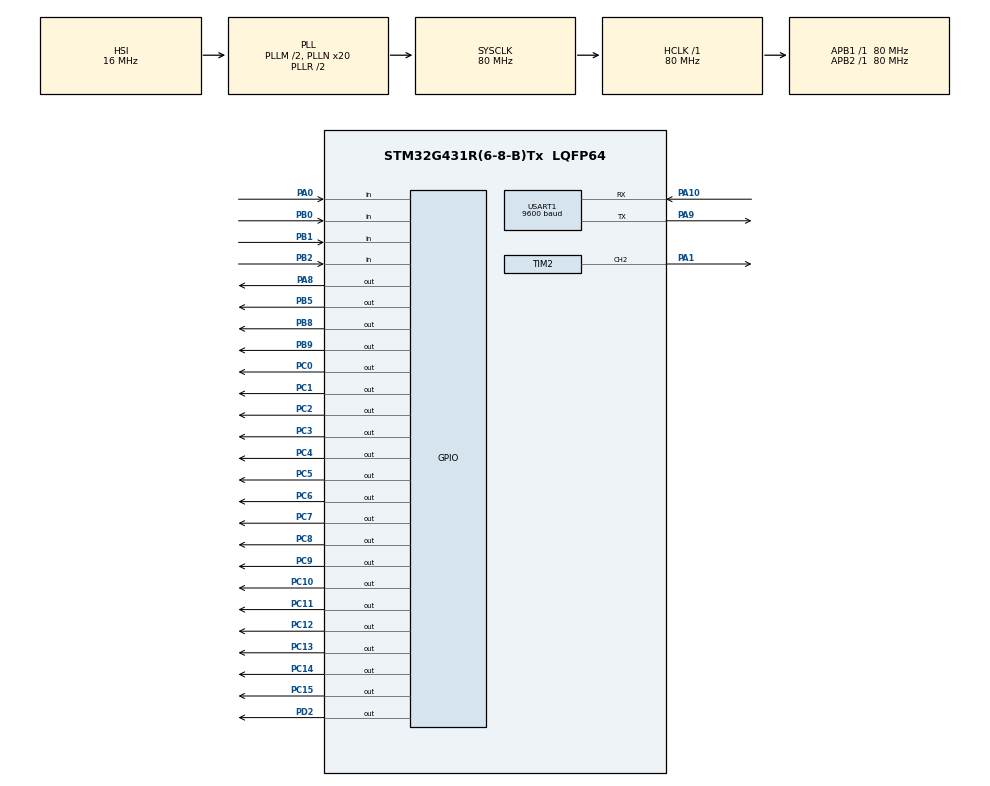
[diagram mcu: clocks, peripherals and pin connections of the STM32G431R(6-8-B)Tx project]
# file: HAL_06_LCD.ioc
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Mcu.Family=STM32G4
Mcu.Name=STM32G431R(6-8-B)Tx
Mcu.Package=LQFP64
NVIC.PriorityGroup=NVIC_PRIORITYGROUP_4
NVIC.TIM1_BRK_TIM15_IRQn=true\:0\:0\:false\:false\:true\:true\:true\:true
NVIC.TIM3_IRQn=true\:0\:0\:false\:false\:true\:true\:true\:true
NVIC.TIM4_IRQn=true\:0\:0\:false\:false\:true\:true\:true\:true
NVIC.USART1_IRQn=true\:0\:0\:false\:false\:true\:true\:true\:true
PA0.Signal=GPIO_Input
PA1.Signal=S_TIM2_CH2
PA10.Mode=Asynchronous
PA10.Signal=USART1_RX
PA8.Signal=GPIO_Output
PA9.Mode=Asynchronous
PA9.Signal=USART1_TX
PB0.Signal=GPIO_Input
PB1.Signal=GPIO_Input
PB2.Signal=GPIO_Input
PB5.Signal=GPIO_Output
PB8-BOOT0.Signal=GPIO_Output
PB9.Signal=GPIO_Output
PC0.Signal=GPIO_Output
PC1.Signal=GPIO_Output
PC10.Signal=GPIO_Output
PC11.Signal=GPIO_Output
PC12.Signal=GPIO_Output
PC13.Signal=GPIO_Output
PC14-OSC32_IN.Signal=GPIO_Output
PC15-OSC32_OUT.Signal=GPIO_Output
PC2.Signal=GPIO_Output
PC3.Signal=GPIO_Output
PC4.Signal=GPIO_Output
PC5.Signal=GPIO_Output
PC6.Signal=GPIO_Output
PC7.Signal=GPIO_Output
PC8.Signal=GPIO_Output
PC9.Signal=GPIO_Output
PD2.Signal=GPIO_Output
PF0-OSC_IN.Mode=HSE-External-Oscillator
PF0-OSC_IN.Signal=RCC_OSC_IN
PF1-OSC_OUT.Mode=HSE-External-Oscillator
PF1-OSC_OUT.Signal=RCC_OSC_OUT
ProjectManager.HeapSize=0x200
ProjectManager.StackSize=0x400
ProjectManager.TargetToolchain=MDK-ARM V5.27
RCC.ADC12Freq_Value=80000000
RCC.AHBFreq_Value=80000000
RCC.APB1Freq_Value=80000000
RCC.APB1TimFreq_Value=80000000
RCC.APB2Freq_Value=80000000
RCC.APB2TimFreq_Value=80000000
RCC.CortexFreq_Value=80000000
RCC.EXTERNAL_CLOCK_VALUE=12288000
RCC.HCLKFreq_Value=80000000
RCC.HSE_VALUE=24000000
RCC.HSI48_VALUE=48000000
RCC.HSI_VALUE=16000000
RCC.LSE_VALUE=32768
RCC.PLLM=RCC_PLLM_DIV2
RCC.PLLN=20
RCC.SYSCLKFreq_VALUE=80000000
RCC.SYSCLKSource=RCC_SYSCLKSOURCE_PLLCLK
RCC.USBFreq_Value=80000000
RCC.VCOOutputFreq_Value=160000000
SH.S_TIM2_CH2.0=TIM2_CH2,PWM Generation2 CH2
TIM15.PeriodNoDither=1000-1
TIM15.Prescaler=80-1
TIM2.Channel-PWM\ Generation2\ CH2=TIM_CHANNEL_2
TIM2.PeriodNoDither=100-1
TIM2.Prescaler=800-1
TIM2.PulseNoDither_2=50
TIM3.PeriodNoDither=10000-1
TIM3.Prescaler=80-1
TIM4.PeriodNoDither=1000-1
TIM4.Prescaler=80-1
USART1.BaudRate=9600
USART1.VirtualMode-Asynchronous=VM_ASYNC
VP_SYS_VS_DBSignals.Mode=DisableDeadBatterySignals
VP_TIM15_VS_ClockSourceINT.Mode=Internal
VP_TIM2_VS_ClockSourceINT.Mode=Internal
VP_TIM3_VS_ClockSourceINT.Mode=Internal
VP_TIM4_VS_ClockSourceINT.Mode=Internal
board=custom

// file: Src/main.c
/* USER CODE BEGIN Header */
/**
  ******************************************************************************
  * @file           : main.c
  * @brief          : Main program body
  ******************************************************************************
  * @attention
  *
  * <h2><center>&copy; Copyright (c) 2021 STMicroelectronics.
  * All rights reserved.</center></h2>
  *
  * This software component is licensed by ST under BSD 3-Clause license,
  * the "License"; You may not use this file except in compliance with the
  * License. You may obtain a copy of the License at:
  *                        opensource.org/licenses/BSD-3-Clause
  *
  ******************************************************************************
  */
/* USER CODE END Header */
#include "main.h"
#include "tim.h"
#include "usart.h"
#include "gpio.h"

/* USER CODE BEGIN PV */
extern keys key[4];
bool view=0;

char code1[2]={'@'};
char code2[2]={'@'};
char code3[2]={'@'};

char cod1[2]={'1'};
char cod2[2]={'2'};
char cod3[2]={'3'};

extern char rxdata[30];
extern uint8_t rxtemp;
extern uint8_t rxpointer;

extern bool ok_5s;
uint8_t view1_sta=0;

uint8_t wrong_times=0;
uint8_t ld2_sta=0;
extern bool ok_01s;
bool B3_down=0;

extern uint16_t count;
extern bool ok_5s1;
extern uint16_t count1;
/* USER CODE END PV */

void SystemClock_Config(void);
/* USER CODE BEGIN PFP */
void disp_proc(void);
void key_proc(void);
void rx_proc(void);
void view1_proc(void);
void led_proc(void);
/* USER CODE END PFP */

int main(void)
{

  /* MCU Configuration--------------------------------------------------------*/

  /* Reset of all peripherals, Initializes the Flash interface and the Systick. */
  HAL_Init();

  /* Configure the system clock */
  SystemClock_Config();

  /* Initialize all configured peripherals */
  MX_GPIO_Init();
  MX_TIM3_Init();
  MX_USART1_UART_Init();
  MX_TIM2_Init();
  MX_TIM4_Init();
  MX_TIM15_Init();
  /* USER CODE BEGIN 2 */

	LCD_Init();
	HAL_TIM_Base_Start_IT(&htim3);
	HAL_UART_Receive_IT(&huart1, &rxtemp, 1);

	HAL_TIM_PWM_Start(&htim2, TIM_CHANNEL_2);

	HAL_TIM_Base_Start_IT(&htim4);
	HAL_TIM_Base_Start_IT(&htim15);
  /* USER CODE END 2 */

  /* Infinite loop */
  /* USER CODE BEGIN WHILE */

	LCD_Clear(Black);
	LCD_SetBackColor(Black);
	LCD_SetTextColor(White);

	led_init();
  while (1)
  {
    /* USER CODE END WHILE */

    /* USER CODE BEGIN 3 */

		disp_proc();
		key_proc();

		if(rxpointer!=0)
		{
			uint8_t temp;
			temp=rxpointer;
			HAL_Delay(1);
			if(temp==rxpointer)
				rx_proc();
		}

		led_proc();
		view1_proc();
  }
  /* USER CODE END 3 */
}

void SystemClock_Config(void)
{
  RCC_OscInitTypeDef RCC_OscInitStruct = {0};
  RCC_ClkInitTypeDef RCC_ClkInitStruct = {0};

  /** Configure the main internal regulator output voltage
  */
  HAL_PWREx_ControlVoltageScaling(PWR_REGULATOR_VOLTAGE_SCALE1);

  /** Initializes the RCC Oscillators according to the specified parameters
  * in the RCC_OscInitTypeDef structure.
  */
  RCC_OscInitStruct.OscillatorType = RCC_OSCILLATORTYPE_HSI;
  RCC_OscInitStruct.HSIState = RCC_HSI_ON;
  RCC_OscInitStruct.HSICalibrationValue = RCC_HSICALIBRATION_DEFAULT;
  RCC_OscInitStruct.PLL.PLLState = RCC_PLL_ON;
  RCC_OscInitStruct.PLL.PLLSource = RCC_PLLSOURCE_HSI;
  RCC_OscInitStruct.PLL.PLLM = RCC_PLLM_DIV2;
  RCC_OscInitStruct.PLL.PLLN = 20;
  RCC_OscInitStruct.PLL.PLLP = RCC_PLLP_DIV2;
  RCC_OscInitStruct.PLL.PLLQ = RCC_PLLQ_DIV2;
  RCC_OscInitStruct.PLL.PLLR = RCC_PLLR_DIV2;
  if (HAL_RCC_OscConfig(&RCC_OscInitStruct) != HAL_OK)
  {
    Error_Handler();
  }

  /** Initializes the CPU, AHB and APB buses clocks
  */
  RCC_ClkInitStruct.ClockType = RCC_CLOCKTYPE_HCLK|RCC_CLOCKTYPE_SYSCLK
                              |RCC_CLOCKTYPE_PCLK1|RCC_CLOCKTYPE_PCLK2;
  RCC_ClkInitStruct.SYSCLKSource = RCC_SYSCLKSOURCE_PLLCLK;
  RCC_ClkInitStruct.AHBCLKDivider = RCC_SYSCLK_DIV1;
  RCC_ClkInitStruct.APB1CLKDivider = RCC_HCLK_DIV1;
  RCC_ClkInitStruct.APB2CLKDivider = RCC_HCLK_DIV1;

  if (HAL_RCC_ClockConfig(&RCC_ClkInitStruct, FLASH_LATENCY_2) != HAL_OK)
  {
    Error_Handler();
  }
}

/* USER CODE BEGIN 4 */
void disp_proc()
{
	if(view==0)
	{
		char text[20];
		sprintf(text,"       PSD      ");
		LCD_DisplayStringLine(Line1, (uint8_t *)text);
		sprintf(text,"    B1:%s      ",code1);
		LCD_DisplayStringLine(Line3, (uint8_t *)text);
		sprintf(text,"    B2:%s      ",code2);
		LCD_DisplayStringLine(Line4, (uint8_t *)text);
		sprintf(text,"    B3:%s      ",code3);
		LCD_DisplayStringLine(Line5, (uint8_t *)text);
	}
	if(view==1)
	{
		char text[20];
		sprintf(text,"       STA      ");
		LCD_DisplayStringLine(Line1, (uint8_t *)text);
		sprintf(text,"    F:2kHz      ");
		LCD_DisplayStringLine(Line3, (uint8_t *)text);
		sprintf(text,"    D:10%%      ");
		LCD_DisplayStringLine(Line4, (uint8_t *)text);
		sprintf(text,"                    ");
		LCD_DisplayStringLine(Line5, (uint8_t *)text);
	}
}

void key_proc()
{
	if(key[0].key_single==1)
	{
		if(view==0)
		{
			if(code1[0]=='@')
				code1[0]='0';
			else
			{
				if(++code1[0]>'9')
					code1[0]='0';
			}
		}
		key[0].key_single=0;
	}
	if(key[1].key_single==1)
	{
		if(view==0)
		{
			if(code2[0]=='@')
				code2[0]='0';
			else
			{
				if(++code2[0]>'9')
					code2[0]='0';
			}
		}
		key[1].key_single=0;
	}
	if(key[2].key_single==1)
	{
		if(view==0)
		{
			if(code3[0]=='@')
				code3[0]='0';
			else
			{
				if(++code3[0]>'9')
					code3[0]='0';
			}
		}
		key[2].key_single=0;
	}
	if(key[3].key_single==1)
	{
		if((code1[0]==cod1[0])&&(code2[0]==cod2[0])&&(code3[0]==cod3[0]))
		{
			view=1;
			wrong_times=0;
		}
		else
		{
			B3_down=1;
			wrong_times++;
		}
	  code3[0]='@';
		code2[0]='@';
		code1[0]='@';
		key[3].key_single=0;
	}
}

void rx_proc()
{
	if(rxpointer==7)
	{
		if((rxdata[3]=='-')&&(rxdata[0]==cod1[0])&&(rxdata[1]==cod2[0])&&(rxdata[2]==cod3[0])&&((rxdata[4]>='0')&&(rxdata[4]<='9'))&&((rxdata[5]>='0')&&(rxdata[5]<='9'))&&((rxdata[6]>='0')&&(rxdata[6]<='9')))
		{
			cod1[0]=rxdata[4];
			cod2[0]=rxdata[5];
			cod3[0]=rxdata[6];
		}
	}
	rxpointer=0;
	memset(rxdata,0,30);
}

void view1_proc()
{
	switch(view1_sta)
	{
		case 0:
		{
			if(view==1)
			{
				ok_5s=0;
				count=0;
				__HAL_TIM_SetClockDivision(&htim2,400-1);
				__HAL_TIM_SetCompare(&htim2,TIM_CHANNEL_2,10);
				ld1(0);
				view1_sta=1;
			}
		};break;
		case 1:
		{
			if(ok_5s==1)
			{
				view=0;
				ok_5s=0;
				__HAL_TIM_SetClockDivision(&htim2,800-1);
				__HAL_TIM_SetCompare(&htim2,TIM_CHANNEL_2,50);
				ld1(1);
				view1_sta=0;
			}
		};break;
	}
}

void led_proc()
{
	switch(ld2_sta)
	{
		case 0:
		{
			if(B3_down==1)
			{
				if(wrong_times>=3)
				{
					ok_5s1=0;
					count1=0;
					ld2(0);
					ld2_sta=1;
				}
				B3_down=0;
			}
		};break;
		case 1:
		{
			if(ok_5s1==1)
			{
				ld2(1);
				ld2_sta=0;
				ok_5s1=0;
			}
			else
				ld2(ok_01s);
		};break;
	}
}
/* USER CODE END 4 */

void Error_Handler(void)
{
}
